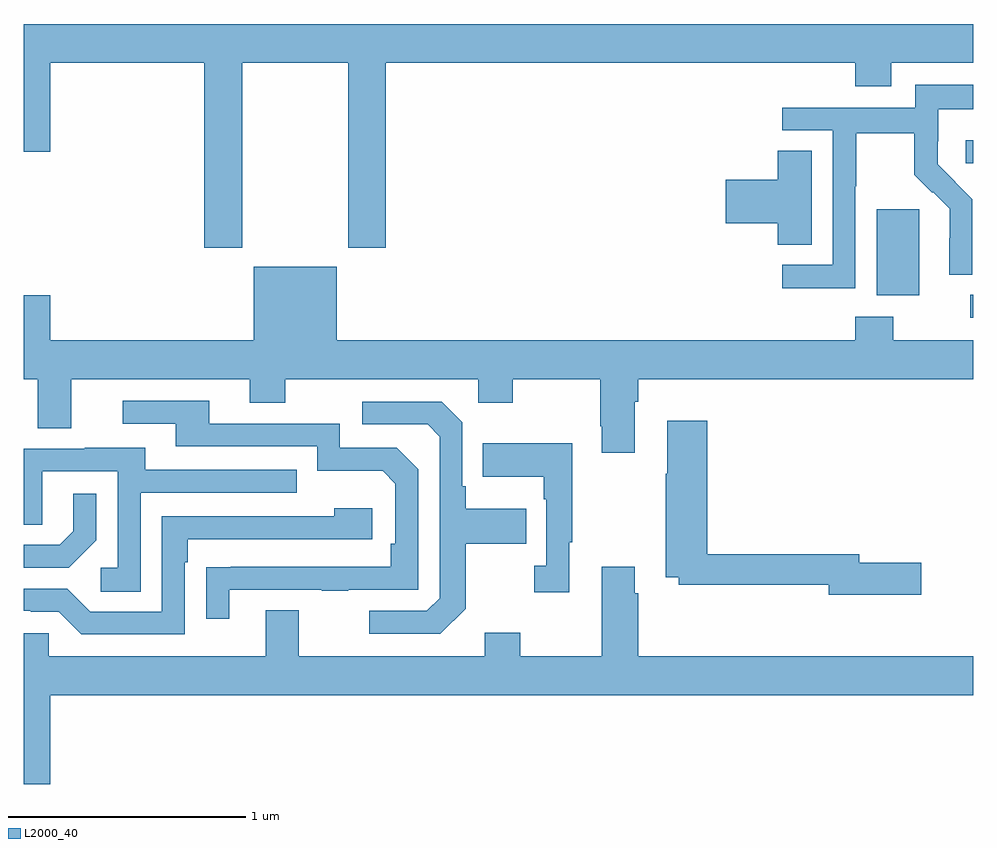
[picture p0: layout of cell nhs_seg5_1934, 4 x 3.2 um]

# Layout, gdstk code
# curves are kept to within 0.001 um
import gdstk
lib = gdstk.Library(unit=1e-6, precision=1e-09)
def R(c, l, rs):  # rectangles x0, y0, x1, y1
    for r in rs: c.add(gdstk.rectangle(r[:2], r[2:], *l))
def P(c, l, *ps):  # polygons
    for p in ps: c.add(gdstk.Polygon(p, *l))
L2000_40 = (2000, 40)

nhs_seg5_1934 = lib.new_cell('nhs_seg5_1934')
R(nhs_seg5_1934, L2000_40, [(228.987,880.995,229,881.091), (228.593,881.09,228.772,881.451), (228.969,881.646,229,881.743)])
P(nhs_seg5_1934, L2000_40, [(225.921,882.068),(226.366,882.068),(226.366,881.289),(226.526,881.289),(226.526,882.068),(228.503,882.068),(228.503,881.969),(228.655,881.969),(228.655,882.068),(229,882.068),(229,882.232),(225,882.232),(225,881.694),(225.112,881.694),(225.112,882.068),(225.761,882.068),(225.761,881.289),(225.921,881.289)],
  [(228.504,881.548),(228.507,881.548),(228.507,881.772),(228.751,881.772),(228.751,881.597),(228.828,881.52),(228.831,881.523),(228.902,881.453),(228.902,881.33),(228.9,881.33),(228.9,881.176),(228.996,881.176),(228.996,881.494),(228.85,881.642),(228.85,881.739),(228.852,881.739),(228.852,881.873),(229,881.873),(229,881.977),(228.756,881.977),(228.756,881.88),(228.195,881.88),(228.195,881.784),(228.408,881.784),(228.408,881.217),(228.195,881.217),(228.195,881.119),(228.504,881.119)],
  [(228.319,881.699),(228.176,881.699),(228.176,881.576),(227.958,881.576),(227.958,881.393),(228.176,881.393),(228.176,881.302),(228.319,881.302)],
  [(227.575,880.64),(227.588,880.64),(227.588,880.736),(229,880.736),(229,880.9),(228.663,880.9),(228.663,880.999),(228.503,880.999),(228.503,880.9),(226.318,880.9),(226.318,881.209),(225.968,881.209),(225.968,880.9),(225.112,880.9),(225.112,881.089),(225,881.089),(225,880.736),(225.059,880.736),(225.059,880.528),(225.199,880.528),(225.199,880.736),(225.953,880.736),(225.953,880.637),(226.101,880.637),(226.101,880.736),(226.914,880.736),(226.914,880.637),(227.061,880.637),(227.061,880.736),(227.428,880.736),(227.428,880.537),(227.435,880.537),(227.435,880.425),(227.575,880.425)],
  [(225.865,879.849),(226.255,879.849),(226.255,879.844),(226.367,879.844),(226.367,879.849),(226.662,879.849),(226.662,880.356),(226.572,880.446),(226.332,880.446),(226.332,880.548),(225.781,880.548),(225.781,880.644),(225.417,880.644),(225.417,880.548),(225.641,880.548),(225.641,880.452),(226.236,880.452),(226.236,880.349),(226.513,880.349),(226.566,880.296),(226.566,880.042),(226.546,880.042),(226.546,879.945),(225.769,879.944),(225.769,879.726),(225.865,879.726)],
  [(226.861,879.769),(226.861,880.042),(227.117,880.042),(227.117,880.189),(226.861,880.189),(226.861,880.285),(226.848,880.285),(226.848,880.554),(226.761,880.641),(226.425,880.641),(226.425,880.545),(226.701,880.545),(226.752,880.494),(226.752,879.813),(226.698,879.759),(226.455,879.759),(226.455,879.663),(226.755,879.663)],
  [(228.781,879.962),(228.52,879.962),(228.52,879.998),(227.879,879.998),(227.879,880.561),(227.711,880.561),(227.711,880.337),(227.704,880.337),(227.704,879.902),(227.76,879.902),(227.76,879.87),(228.392,879.87),(228.392,879.827),(228.781,879.827)],
  [(227.299,880.049),(227.311,880.049),(227.311,880.465),(226.933,880.465),(226.933,880.325),(227.19,880.325),(227.19,880.229),(227.202,880.229),(227.202,879.95),(227.151,879.95),(227.151,879.837),(227.299,879.837)],
  [(225.492,880.257),(226.151,880.257),(226.151,880.353),(225.511,880.353),(225.511,880.447),(225.257,880.447),(225.257,880.443),(225,880.443),(225,880.123),(225.078,880.123),(225.078,880.347),(225.396,880.347),(225.396,879.942),(225.324,879.942),(225.324,879.841),(225.492,879.841)],
  [(225.306,880.058),(225.306,880.252),(225.209,880.252),(225.209,880.095),(225.152,880.038),(225,880.038),(225,879.942),(225.19,879.942)],
  [(225.678,879.965),(225.691,879.965),(225.691,880.062),(226.468,880.062),(226.468,880.192),(226.307,880.192),(226.307,880.158),(225.582,880.158),(225.582,879.756),(225.279,879.756),(225.183,879.852),(225,879.852),(225,879.759),(225.029,879.759),(225.029,879.756),(225.147,879.756),(225.243,879.66),(225.678,879.66)],
  [(225.112,879.404),(229,879.404),(229,879.568),(227.588,879.568),(227.588,879.833),(227.575,879.833),(227.575,879.946),(227.435,879.946),(227.435,879.568),(227.091,879.568),(227.091,879.667),(226.943,879.667),(226.943,879.568),(226.159,879.568),(226.159,879.763),(226.019,879.763),(226.019,879.568),(225.105,879.568),(225.105,879.666),(225,879.666),(225,879.03),(225.112,879.03)])

lib.write_gds('nhs_seg5_1934.gds')
